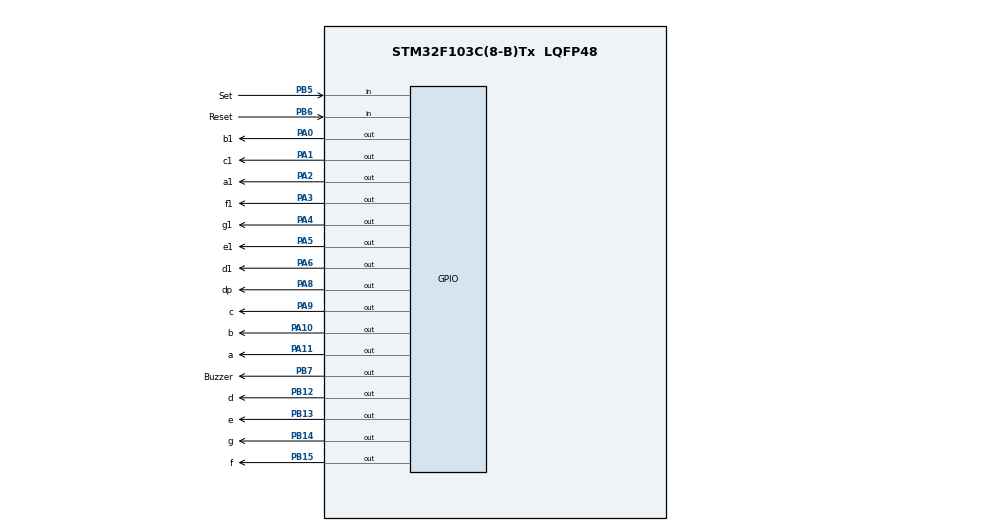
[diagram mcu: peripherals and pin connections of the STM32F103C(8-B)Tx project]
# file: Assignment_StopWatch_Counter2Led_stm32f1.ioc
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Mcu.Family=STM32F1
Mcu.Name=STM32F103C(8-B)Tx
Mcu.Package=LQFP48
NVIC.PriorityGroup=NVIC_PRIORITYGROUP_4
PA0-WKUP.GPIO_Label=b1
PA0-WKUP.PinState=GPIO_PIN_SET
PA0-WKUP.Signal=GPIO_Output
PA1.GPIO_Label=c1
PA1.PinState=GPIO_PIN_SET
PA1.Signal=GPIO_Output
PA10.GPIO_Label=b
PA10.PinState=GPIO_PIN_SET
PA10.Signal=GPIO_Output
PA11.GPIO_Label=a
PA11.PinState=GPIO_PIN_SET
PA11.Signal=GPIO_Output
PA2.GPIO_Label=a1
PA2.PinState=GPIO_PIN_SET
PA2.Signal=GPIO_Output
PA3.GPIO_Label=f1
PA3.PinState=GPIO_PIN_SET
PA3.Signal=GPIO_Output
PA4.GPIO_Label=g1
PA4.PinState=GPIO_PIN_SET
PA4.Signal=GPIO_Output
PA5.GPIO_Label=e1
PA5.PinState=GPIO_PIN_SET
PA5.Signal=GPIO_Output
PA6.GPIO_Label=d1
PA6.PinState=GPIO_PIN_SET
PA6.Signal=GPIO_Output
PA8.GPIO_Label=dp
PA8.PinState=GPIO_PIN_SET
PA8.Signal=GPIO_Output
PA9.GPIO_Label=c
PA9.PinState=GPIO_PIN_SET
PA9.Signal=GPIO_Output
PB12.GPIO_Label=d
PB12.PinState=GPIO_PIN_SET
PB12.Signal=GPIO_Output
PB13.GPIO_Label=e
PB13.PinState=GPIO_PIN_SET
PB13.Signal=GPIO_Output
PB14.GPIO_Label=g
PB14.PinState=GPIO_PIN_SET
PB14.Signal=GPIO_Output
PB15.GPIO_Label=f
PB15.PinState=GPIO_PIN_SET
PB15.Signal=GPIO_Output
PB5.GPIO_Label=Set
PB5.GPIO_PuPd=GPIO_PULLUP
PB5.Signal=GPIO_Input
PB6.GPIO_Label=Reset
PB6.GPIO_PuPd=GPIO_PULLUP
PB6.Signal=GPIO_Input
PB7.GPIO_Label=Buzzer
PB7.PinState=GPIO_PIN_SET
PB7.Signal=GPIO_Output
ProjectManager.HeapSize=0x200
ProjectManager.StackSize=0x400
ProjectManager.TargetToolchain=STM32CubeIDE
RCC.APB1Freq_Value=8000000
RCC.APB2Freq_Value=8000000
board=custom

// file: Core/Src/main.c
/* USER CODE BEGIN Header */
/**
  ******************************************************************************
  * @file           : main.c
  * @brief          : Main program body
  ******************************************************************************
  * @attention
  *
  * Copyright (c) 2026 STMicroelectronics.
  * All rights reserved.
  *
  * This software is licensed under terms that can be found in the LICENSE file
  * in the root directory of this software component.
  * If no LICENSE file comes with this software, it is provided AS-IS.
  *
  ******************************************************************************
  */
/* USER CODE END Header */

#include "main.h"

/* USER CODE BEGIN PV */
uint8_t counter = 0;   // Biến lưu giá trị đếm từ 0 đến 99
uint8_t running = 0;   // Biến trạng thái đếm (0: Dừng, 1: Đang đếm)
uint32_t lastTick = 0; // Biến lưu mốc thời gian phục vụ bộ đếm 1 giây
/* USER CODE END PV */

void SystemClock_Config(void);
static void MX_GPIO_Init(void);

/* USER CODE BEGIN PFP */
void DisplayDigit(uint8_t num);
void DisplayDigitUnits(uint8_t num);
void Display2Digit(uint8_t num);
void ScanButton(void);
/* USER CODE END PFP */

/* USER CODE BEGIN 0 */

void DisplayDigit(uint8_t num)
{
    // Tắt toàn bộ các đoạn của LED hàng chục (Mức CAO là TẮT đối với cực âm chung)
    HAL_GPIO_WritePin(GPIOA, a_Pin|b_Pin|c_Pin|d_Pin|e_Pin|f_Pin|g_Pin|dp_Pin, GPIO_PIN_SET);
    HAL_GPIO_WritePin(GPIOB, d_Pin|e_Pin|f_Pin|g_Pin, GPIO_PIN_SET);

    switch(num)
    {
        case 0:
            HAL_GPIO_WritePin(GPIOA, a_Pin|b_Pin|c_Pin, GPIO_PIN_RESET);
            HAL_GPIO_WritePin(GPIOB, d_Pin|e_Pin|f_Pin, GPIO_PIN_RESET);
            break;
        case 1:
            HAL_GPIO_WritePin(GPIOA, b_Pin|c_Pin, GPIO_PIN_RESET);
            break;
        case 2:
            HAL_GPIO_WritePin(GPIOA, a_Pin|b_Pin, GPIO_PIN_RESET);
            HAL_GPIO_WritePin(GPIOB, d_Pin|e_Pin|g_Pin, GPIO_PIN_RESET);
            break;
        case 3:
            HAL_GPIO_WritePin(GPIOA, a_Pin|b_Pin|c_Pin, GPIO_PIN_RESET);
            HAL_GPIO_WritePin(GPIOB, d_Pin|g_Pin, GPIO_PIN_RESET);
            break;
        case 4:
            HAL_GPIO_WritePin(GPIOA, b_Pin|c_Pin, GPIO_PIN_RESET);
            HAL_GPIO_WritePin(GPIOB, f_Pin|g_Pin, GPIO_PIN_RESET);
            break;
        case 5:
            HAL_GPIO_WritePin(GPIOA, a_Pin|c_Pin, GPIO_PIN_RESET);
            HAL_GPIO_WritePin(GPIOB, d_Pin|f_Pin|g_Pin, GPIO_PIN_RESET);
            break;
        case 6:
            HAL_GPIO_WritePin(GPIOA, a_Pin|c_Pin, GPIO_PIN_RESET);
            HAL_GPIO_WritePin(GPIOB, d_Pin|e_Pin|f_Pin|g_Pin, GPIO_PIN_RESET);
            break;
        case 7:
            HAL_GPIO_WritePin(GPIOA, a_Pin|b_Pin|c_Pin, GPIO_PIN_RESET);
            break;
        case 8:
            HAL_GPIO_WritePin(GPIOA, a_Pin|b_Pin|c_Pin, GPIO_PIN_RESET);
            HAL_GPIO_WritePin(GPIOB, d_Pin|e_Pin|f_Pin|g_Pin, GPIO_PIN_RESET);
            break;
        case 9:
            HAL_GPIO_WritePin(GPIOA, a_Pin|b_Pin|c_Pin, GPIO_PIN_RESET);
            HAL_GPIO_WritePin(GPIOB, d_Pin|f_Pin|g_Pin, GPIO_PIN_RESET);
            break;
    }

    // Kéo chân dp_Pin xuống mức THẤP để luôn sáng dấu chấm trên LED hàng chục
    HAL_GPIO_WritePin(GPIOA, dp_Pin, GPIO_PIN_RESET);
}

void DisplayDigitUnits(uint8_t num)
{
    // Tắt toàn bộ các đoạn của LED hàng đơn vị trước khi chuyển số
    HAL_GPIO_WritePin(GPIOA, a1_Pin|b1_Pin|c1_Pin|d1_Pin|e1_Pin|f1_Pin|g1_Pin, GPIO_PIN_SET);

    switch(num)
    {
        case 0:
            HAL_GPIO_WritePin(GPIOA, a1_Pin|b1_Pin|c1_Pin|d1_Pin|e1_Pin|f1_Pin, GPIO_PIN_RESET);
            break;
        case 1:
            HAL_GPIO_WritePin(GPIOA, b1_Pin|c1_Pin, GPIO_PIN_RESET);
            break;
        case 2:
            HAL_GPIO_WritePin(GPIOA, a1_Pin|b1_Pin|d1_Pin|e1_Pin|g1_Pin, GPIO_PIN_RESET);
            break;
        case 3:
            HAL_GPIO_WritePin(GPIOA, a1_Pin|b1_Pin|c1_Pin|d1_Pin|g1_Pin, GPIO_PIN_RESET);
            break;
        case 4:
            HAL_GPIO_WritePin(GPIOA, b1_Pin|c1_Pin|f1_Pin|g1_Pin, GPIO_PIN_RESET);
            break;
        case 5:
            HAL_GPIO_WritePin(GPIOA, a1_Pin|c1_Pin|d1_Pin|f1_Pin|g1_Pin, GPIO_PIN_RESET);
            break;
        case 6:
            HAL_GPIO_WritePin(GPIOA, a1_Pin|c1_Pin|d1_Pin|e1_Pin|f1_Pin|g1_Pin, GPIO_PIN_RESET);
            break;
        case 7:
            HAL_GPIO_WritePin(GPIOA, a1_Pin|b1_Pin|c1_Pin, GPIO_PIN_RESET);
            break;
        case 8:
            HAL_GPIO_WritePin(GPIOA, a1_Pin|b1_Pin|c1_Pin|d1_Pin|e1_Pin|f1_Pin|g1_Pin, GPIO_PIN_RESET);
            break;
        case 9:
            HAL_GPIO_WritePin(GPIOA, a1_Pin|b1_Pin|c1_Pin|d1_Pin|f1_Pin|g1_Pin, GPIO_PIN_RESET);
            break;
    }
}

void Display2Digit(uint8_t num)
{
    uint8_t tens = num / 10;
    uint8_t units = num % 10;

    // Quét luân phiên độc lập 2 LED đơn cực nhanh để hiển thị rõ ràng ổn định
    DisplayDigit(tens);
    HAL_Delay(5); // Sáng LED hàng chục trong 5ms

    DisplayDigitUnits(units);
    HAL_Delay(5); // Sáng LED hàng đơn vị trong 5ms
}

void ScanButton(void)
{
    static uint8_t oldSet = 1;
    static uint8_t oldReset = 1;

    uint8_t set = HAL_GPIO_ReadPin(GPIOB, Set_Pin);
    uint8_t reset = HAL_GPIO_ReadPin(GPIOB, Reset_Pin);

    // 1. Nút bấm Pause / Resume / Start (Tích cực mức THẤP)
    if(set == GPIO_PIN_RESET && oldSet == GPIO_PIN_SET)
    {
        HAL_Delay(20); // Chống rung phím
        if(HAL_GPIO_ReadPin(GPIOB, Set_Pin) == GPIO_PIN_RESET)
        {
            // Nếu đồng hồ đang dừng ở mốc giới hạn 99 và còi đang kêu, nhấn nút này sẽ tự động reset về 00
            if (counter == 99)
            {
                counter = 0;
                HAL_GPIO_WritePin(GPIOB, Buzzer_Pin, GPIO_PIN_RESET); // Tắt còi
                running = 0;
            }
            else
            {
                running = !running; // Đảo trạng thái đếm (Start <-> Pause)
            }
        }
    }

    // 2. Nút bấm Reset (Tích cực mức THẤP)
    if(reset == GPIO_PIN_RESET && oldReset == GPIO_PIN_SET)
    {
        HAL_Delay(20); // Chống rung phím
        if(HAL_GPIO_ReadPin(GPIOB, Reset_Pin) == GPIO_PIN_RESET)
        {
            counter = 0;                                          // Đưa bộ đếm về 0
            running = 0;                                          // Ngưng đếm hoàn toàn
            HAL_GPIO_WritePin(GPIOB, Buzzer_Pin, GPIO_PIN_RESET); // Tắt còi Buzzer nếu đang kêu
        }
    }

    oldSet = set;
    oldReset = reset;
}
/* USER CODE END 0 */

int main(void)
{
  /* MCU Configuration--------------------------------------------------------*/
  HAL_Init();

  /* Configure the system clock */
  SystemClock_Config();

  /* Initialize all configured peripherals */
  MX_GPIO_Init();

  /* USER CODE BEGIN 2 */
  lastTick = HAL_GetTick(); // Đồng bộ thời điểm khởi động ban đầu
  /* USER CODE END 2 */

  /* Infinite loop */
  while (1)
  {

    /* USER CODE BEGIN 3 */
      // 1. Liên tục quét trạng thái nút nhấn
      ScanButton();

      // 2. Nếu trạng thái là đang chạy, tiến hành đếm thời gian
      if(running)
      {
          if(HAL_GetTick() - lastTick >= 1000) // Đếm tiến sau mỗi 1 giây (1000ms)
          {
              lastTick = HAL_GetTick();

              if(counter < 99)
              {
                  counter++;
              }

              // MÔ TẢ CHỨC NĂNG: Khi đồng hồ đạt giá trị 99 sẽ kích hoạt buzzer và ngưng đếm
              if(counter == 99)
              {
                  running = 0; // Ngưng đếm
                  HAL_GPIO_WritePin(GPIOB, Buzzer_Pin, GPIO_PIN_SET); // Kích hoạt còi kêu liên tục
              }
          }
      }

      // 3. Quét hiển thị 2 chữ số lên LED 7 đoạn
      Display2Digit(counter);
  }
  /* USER CODE END 3 */
}

void SystemClock_Config(void)
{
  RCC_OscInitTypeDef RCC_OscInitStruct = {0};
  RCC_ClkInitTypeDef RCC_ClkInitStruct = {0};

  RCC_OscInitStruct.OscillatorType = RCC_OSCILLATORTYPE_HSI;
  RCC_OscInitStruct.HSIState = RCC_HSI_ON;
  RCC_OscInitStruct.HSICalibrationValue = RCC_HSICALIBRATION_DEFAULT;
  RCC_OscInitStruct.PLL.PLLState = RCC_PLL_NONE;
  if (HAL_RCC_OscConfig(&RCC_OscInitStruct) != HAL_OK)
  {
    Error_Handler();
  }

  RCC_ClkInitStruct.ClockType = RCC_CLOCKTYPE_HCLK|RCC_CLOCKTYPE_SYSCLK
                              |RCC_CLOCKTYPE_PCLK1|RCC_CLOCKTYPE_PCLK2;
  RCC_ClkInitStruct.SYSCLKSource = RCC_SYSCLKSOURCE_HSI;
  RCC_ClkInitStruct.AHBCLKDivider = RCC_SYSCLK_DIV1;
  RCC_ClkInitStruct.APB1CLKDivider = RCC_HCLK_DIV1;
  RCC_ClkInitStruct.APB2CLKDivider = RCC_HCLK_DIV1;

  if (HAL_RCC_ClockConfig(&RCC_ClkInitStruct, FLASH_LATENCY_0) != HAL_OK)
  {
    Error_Handler();
  }
}

static void MX_GPIO_Init(void)
{
  GPIO_InitTypeDef GPIO_InitStruct = {0};

  /* GPIO Ports Clock Enable */
  __HAL_RCC_GPIOA_CLK_ENABLE();
  __HAL_RCC_GPIOB_CLK_ENABLE();
  __HAL_RCC_GPIOC_CLK_ENABLE();

  /* Configure GPIO pin Output Level cho PORTA */
  // Đồng bộ chân mới PA2 vào trạng thái SET ban đầu chung với hệ chân hiển thị
  HAL_GPIO_WritePin(GPIOA, b1_Pin|c1_Pin|a1_Pin|f1_Pin
                          |g1_Pin|e1_Pin|d1_Pin|dp_Pin
                          |c_Pin|b_Pin|a_Pin|GPIO_PIN_2, GPIO_PIN_SET);

  /* Configure GPIO pin Output Level cho PORTB */
  HAL_GPIO_WritePin(GPIOB, d_Pin|e_Pin|g_Pin|f_Pin, GPIO_PIN_SET);

  // Đảm bảo chân còi Buzzer luôn xuất mức thấp (RESET) để không bị tự kêu khi bật mạch
  HAL_GPIO_WritePin(GPIOB, Buzzer_Pin, GPIO_PIN_RESET);

  /* Khởi tạo hệ thống các chân Output trên PORTA (Đã bổ sung chân mới GPIO_PIN_2 thay PC15) */
  GPIO_InitStruct.Pin = b1_Pin|c1_Pin|a1_Pin|f1_Pin
                          |g1_Pin|e1_Pin|d1_Pin|dp_Pin
                          |c_Pin|b_Pin|a_Pin|GPIO_PIN_2;
  GPIO_InitStruct.Mode = GPIO_MODE_OUTPUT_PP;
  GPIO_InitStruct.Pull = GPIO_NOPULL;
  GPIO_InitStruct.Speed = GPIO_SPEED_FREQ_LOW;
  HAL_GPIO_Init(GPIOA, &GPIO_InitStruct);

  /* Khởi tạo hệ thống các chân Output trên PORTB */
  GPIO_InitStruct.Pin = d_Pin|e_Pin|g_Pin|f_Pin|Buzzer_Pin;
  GPIO_InitStruct.Mode = GPIO_MODE_OUTPUT_PP;
  GPIO_InitStruct.Pull = GPIO_NOPULL;
  GPIO_InitStruct.Speed = GPIO_SPEED_FREQ_LOW;
  HAL_GPIO_Init(GPIOB, &GPIO_InitStruct);

  /* Khởi tạo hệ thống chân Input có trở kéo lên (PULLUP) cho 2 nút nhấn trên PORTB */
  GPIO_InitStruct.Pin = Set_Pin|Reset_Pin;
  GPIO_InitStruct.Mode = GPIO_MODE_INPUT;
  GPIO_InitStruct.Pull = GPIO_PULLUP;
  HAL_GPIO_Init(GPIOB, &GPIO_InitStruct);
}

void Error_Handler(void)
{
  __disable_irq();
  while (1)
  {
  }
}
